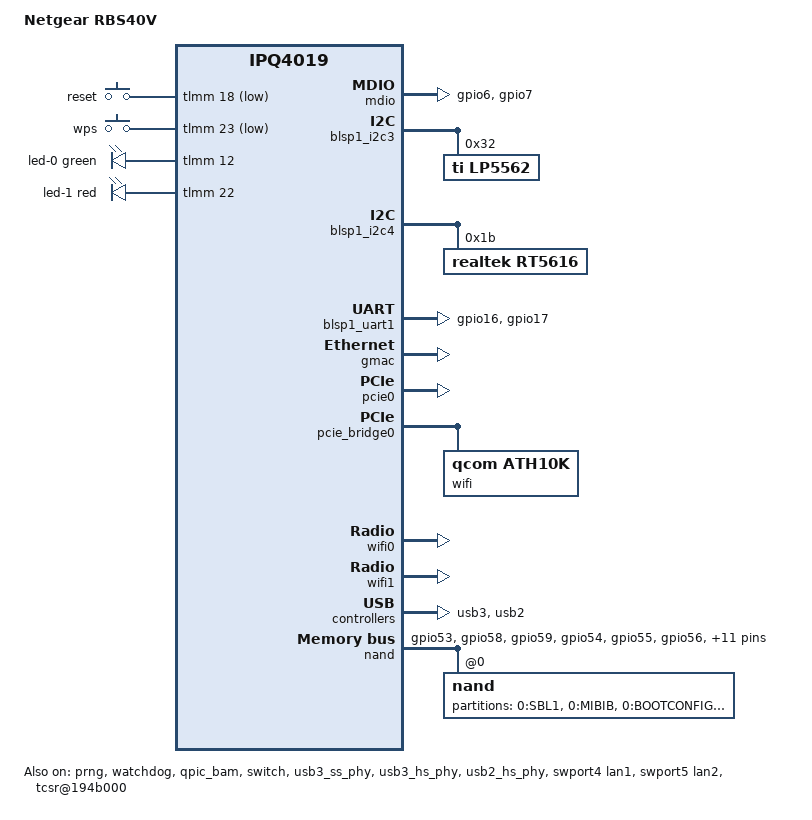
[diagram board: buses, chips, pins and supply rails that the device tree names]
// SPDX-License-Identifier: GPL-2.0-or-later OR MIT

#include "qcom-ipq4019.dtsi"
#include <dt-bindings/gpio/gpio.h>
#include <dt-bindings/input/input.h>
#include <dt-bindings/soc/qcom,tcsr.h>
#include <dt-bindings/leds/common.h>

/ {
	model = "Netgear RBS40V";
	compatible = "netgear,rbs40v";

	chosen {
		stdout-path = "serial0:115200n8";
		bootargs-append = " root=/dev/ubiblock0_1";
	};

	aliases {
		led-boot = &lp5562_blue;
		led-failsafe = &lp5562_white;
		led-running = &lp5562_green;
		led-upgrade = &lp5562_red;
		label-mac-device = &gmac;
	};

	keys {
		compatible = "gpio-keys";

		reset {
			label = "reset";
			gpios = <&tlmm 18 GPIO_ACTIVE_LOW>;
			linux,code = <KEY_RESTART>;
		};

		wps {
			label = "wps";
			gpios = <&tlmm 23 GPIO_ACTIVE_LOW>;
			linux,code = <KEY_WPS_BUTTON>;
		};
	};

	leds {
		compatible = "gpio-leds";

		led-0 {
			function = LED_FUNCTION_POWER;
			color = <LED_COLOR_ID_GREEN>;
			gpios = <&tlmm 12 GPIO_ACTIVE_HIGH>;
			default-state = "on";
		};

		led-1 {
			function = LED_FUNCTION_POWER;
			color = <LED_COLOR_ID_RED>;
			gpios = <&tlmm 22 GPIO_ACTIVE_HIGH>;
			panic-indicator;
		};
	};

	soc {
		tcsr@1949000 {
			compatible = "qcom,tcsr";
			reg = <0x1949000 0x100>;
			qcom,wifi_glb_cfg = <TCSR_WIFI_GLB_CFG>;
		};

		tcsr@194b000 {
			status = "okay";

			compatible = "qcom,tcsr";
			reg = <0x194b000 0x100>;
			qcom,usb-hsphy-mode-select = <TCSR_USB_HSPHY_HOST_MODE>;
		};

		ess_tcsr@1953000 {
			compatible = "qcom,tcsr";
			reg = <0x1953000 0x1000>;
			qcom,ess-interface-select = <TCSR_ESS_PSGMII>;
		};

		tcsr@1957000 {
			compatible = "qcom,tcsr";
			reg = <0x1957000 0x100>;
			qcom,wifi_noc_memtype_m0_m2 = <TCSR_WIFI_NOC_MEMTYPE_M0_M2>;
		};
	};
};

&prng {
	status = "okay";
};

&mdio {
	status = "okay";
	pinctrl-0 = <&mdio_pins>;
	pinctrl-names = "default";
};

&watchdog {
	status = "okay";
};

&blsp_dma {
	status = "okay";
};

&qpic_bam {
	status = "okay";
};

&tlmm {
	mdio_pins: mdio-pinmux {
		mux_mdio {
			pins = "gpio6";
			function = "mdio";
			bias-pull-up;
		};

		mux_mdc {
			pins = "gpio7";
			function = "mdc";
			bias-pull-up;
		};
	};

	serial_pins: serial-pinmux {
		function = "blsp_uart0";
		pins = "gpio16", "gpio17";
		bias-disable;
	};

	nand_pins: nand-pins {
		pullups {
			pins = "gpio53", "gpio58", "gpio59";
			function = "qpic";
			bias-pull-up;
		};

		pulldowns {
			pins = "gpio54", "gpio55", "gpio56",
				"gpio57", "gpio60", "gpio61",
				"gpio62", "gpio63", "gpio64",
				"gpio65", "gpio66", "gpio67",
				"gpio68", "gpio69";
			function = "qpic";
			bias-pull-down;
		};
	};
};

&blsp1_i2c3 {
	status = "okay";

	lp5562@32 {
		compatible = "ti,lp5562";
		reg = <0x32>;
		clock-mode = [02];
		#address-cells = <1>;
		#size-cells = <0>;

		lp5562_red: led@0 {
			chan-name = "red:status";
			led-cur = [20];
			max-cur = [60];
			color = <LED_COLOR_ID_RED>;
			reg = <0>;
		};

		lp5562_green: led@1 {
			chan-name = "green:status";
			led-cur = [20];
			max-cur = [60];
			color = <LED_COLOR_ID_GREEN>;
			reg = <1>;
		};

		lp5562_blue: led@2 {
			chan-name = "blue:status";
			led-cur = [20];
			max-cur = [60];
			color = <LED_COLOR_ID_BLUE>;
			reg = <2>;
		};

		lp5562_white: led@3 {
			chan-name = "white:status";
			led-cur = [20];
			max-cur = [60];
			color = <LED_COLOR_ID_WHITE>;
			reg = <3>;
		};
	};
};

&blsp1_i2c4 {
	status = "okay";

	// There is also an alc1312 codec at 0x1a, but no driver exists.

	rt5616@1b {
		compatible = "realtek,rt5616";
		reg = <0x1b>;
		status = "okay";
	};

};

&blsp1_uart1 {
	status = "okay";
	pinctrl-0 = <&serial_pins>;
	pinctrl-names = "default";
};

&gmac {
	status = "okay";

	nvmem-cell-names = "mac-address";
	nvmem-cells = <&mac_address_lan 0>;
};

&switch {
	status = "okay";
};

&pcie0 {
	status = "okay";

	perst-gpios = <&tlmm 38 GPIO_ACTIVE_LOW>;
	wake-gpios = <&tlmm 50 GPIO_ACTIVE_LOW>;
};

&pcie_bridge0 {
	wifi@0,0 {
		compatible = "qcom,ath10k";
		reg = <0x00010000 0 0 0 0>;
		ieee80211-freq-limit = <5170000 5350000>;
		nvmem-cell-names = "pre-calibration", "mac-address";
		nvmem-cells = <&precal_art_9000>, <&mac_address_wlan 1>;
		qcom,ath10k-calibration-variant = "Netgear-RBS40V";
	};
};

&wifi0 {
	status = "okay";
	nvmem-cell-names = "pre-calibration", "mac-address";
	nvmem-cells = <&precal_art_1000>, <&mac_address_lan 0>;
	qcom,ath10k-calibration-variant = "Netgear-RBS40V";
};

&wifi1 {
	status = "okay";
	ieee80211-freq-limit = <5470000 5815000>;
	nvmem-cell-names = "pre-calibration", "mac-address";
	nvmem-cells = <&precal_art_5000>, <&mac_address_wlan 0>;
	qcom,ath10k-calibration-variant = "Netgear-RBS40V";
};

&usb3_ss_phy {
	status = "okay";
};

&usb3_hs_phy {
	status = "okay";
};

&usb3 {
	status = "okay";
};

&usb2_hs_phy {
	status = "okay";
};

&usb2 {
	status = "okay";
};

&nand {
	pinctrl-0 = <&nand_pins>;
	pinctrl-names = "default";
	status = "okay";

	nand@0 {
		partitions {
			compatible = "fixed-partitions";
			#address-cells = <1>;
			#size-cells = <1>;

			partition@0 {
				label = "0:SBL1";
				reg = <0x00000000 0x00100000>;
				read-only;
			};

			partition@100000 {
				label = "0:MIBIB";
				reg = <0x00100000 0x00100000>;
				read-only;
			};

			partition@200000 {
				label = "0:BOOTCONFIG";
				reg = <0x00200000 0x00100000>;
				read-only;
			};

			partition@300000 {
				label = "0:QSEE";
				reg = <0x00300000 0x00100000>;
				read-only;
			};

			partition@400000 {
				label = "0:QSEE_1";
				reg = <0x00400000 0x00100000>;
				read-only;
			};

			partition@500000 {
				label = "0:CDT";
				reg = <0x00500000 0x00080000>;
				read-only;
			};

			partition@580000 {
				label = "0:CDT_1";
				reg = <0x00580000 0x00080000>;
				read-only;
			};

			partition@600000 {
				label = "0:DDRPARAMS";
				reg = <0x00600000 0x00080000>;
				read-only;
			};

			partition@680000 {
				label = "0:APPSBLENV";
				reg = <0x00680000 0x00080000>;
			};

			partition@700000 {
				label = "0:APPSBL";
				reg = <0x00700000 0x00200000>;
				read-only;
			};

			partition@900000 {
				label = "0:APPSBL_1";
				reg = <0x00900000 0x00200000>;
				read-only;
			};

			partition@b00000 {
				label = "0:ART";
				reg = <0x00b00000 0x00080000>;
				read-only;

				nvmem-layout {
					compatible = "fixed-layout";
					#address-cells = <1>;
					#size-cells = <1>;

					precal_art_1000: precal@1000 {
						reg = <0x1000 0x2f20>;
					};

					precal_art_5000: precal@5000 {
						reg = <0x5000 0x2f20>;
					};

					precal_art_9000: precal@9000 {
						reg = <0x9000 0x2f20>;
					};
				};
			};

			partition@b80000 {
				label = "nvram";
				reg = <0x00b80000 0x00200000>;
				read-only;
			};

			partition@d80000 {
				label = "nvram2";
				reg = <0x00d80000 0x00200000>;
				read-only;
			};

			partition@f80000 {
				label = "board_data";
				reg = <0x00f80000 0x00100000>;
				read-only;

				nvmem-layout {
					compatible = "fixed-layout";
					#address-cells = <1>;
					#size-cells = <1>;

					mac_address_lan: macaddr@40 {
						compatible = "mac-base";
						reg = <0x40 0x6>;
						#nvmem-cell-cells = <1>;
					};

					mac_address_wlan: macaddr@46 {
						compatible = "mac-base";
						reg = <0x46 0x6>;
						#nvmem-cell-cells = <1>;
					};
				};
			};

			partition@1080000 {
				label = "POT1";
				reg = <0x01080000 0x00100000>;
				read-only;
			};

			partition@1180000 {
				label = "POT2";
				reg = <0x01180000 0x00100000>;
				read-only;
			};

			partition@1280000 {
				label = "ML1";
				reg = <0x01280000 0x00100000>;
				read-only;
			};

			partition@1380000 {
				label = "DebugMsg";
				reg = <0x01380000 0x00100000>;
				read-only;
			};

			partition@1480000 {
				label = "Reserved";
				reg = <0x01480000 0x01100000>;
				read-only;
			};

			partition@2580000 {
				// This is the orbi mode boot target
				label = "rootfs";
				reg = <0x02580000 0x06980000>;
			};

			partition@8f00000 {
				// This is the extender mode boot target
				label = "rootfs_ALT";
				reg = <0x08f00000 0x06980000>;
			};
		};
	};
};

&swport4 {
	status = "okay";

	label = "lan1";
};

&swport5 {
	status = "okay";

	label = "lan2";
};
